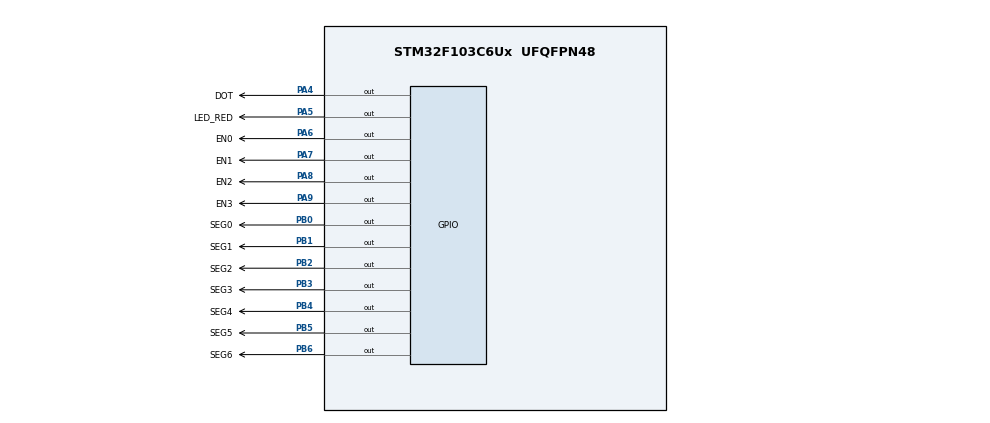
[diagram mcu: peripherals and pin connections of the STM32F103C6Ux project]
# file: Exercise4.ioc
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Mcu.Family=STM32F1
Mcu.Name=STM32F103C6Ux
Mcu.Package=UFQFPN48
NVIC.PriorityGroup=NVIC_PRIORITYGROUP_4
NVIC.TIM2_IRQn=true\:0\:0\:false\:false\:true\:true\:true
PA4.GPIO_Label=DOT
PA4.Signal=GPIO_Output
PA5.GPIO_Label=LED_RED
PA5.Signal=GPIO_Output
PA6.GPIO_Label=EN0
PA6.Signal=GPIO_Output
PA7.GPIO_Label=EN1
PA7.Signal=GPIO_Output
PA8.GPIO_Label=EN2
PA8.Signal=GPIO_Output
PA9.GPIO_Label=EN3
PA9.Signal=GPIO_Output
PB0.GPIO_Label=SEG0
PB0.Signal=GPIO_Output
PB1.GPIO_Label=SEG1
PB1.Signal=GPIO_Output
PB2.GPIO_Label=SEG2
PB2.Signal=GPIO_Output
PB3.GPIO_Label=SEG3
PB3.Signal=GPIO_Output
PB4.GPIO_Label=SEG4
PB4.Signal=GPIO_Output
PB5.GPIO_Label=SEG5
PB5.Signal=GPIO_Output
PB6.GPIO_Label=SEG6
PB6.Signal=GPIO_Output
ProjectManager.HeapSize=0x200
ProjectManager.StackSize=0x400
ProjectManager.TargetToolchain=STM32CubeIDE
RCC.APB1Freq_Value=8000000
RCC.APB2Freq_Value=8000000
TIM2.Period=9
TIM2.Prescaler=7999
VP_SYS_VS_ND.Mode=No_Debug
VP_TIM2_VS_ClockSourceINT.Mode=Internal
board=custom

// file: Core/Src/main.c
/* USER CODE BEGIN Header */
/**
  ******************************************************************************
  * @file           : main.c
  * @brief          : Main program body
  ******************************************************************************
  * @attention
  *
  * <h2><center>&copy; Copyright (c) 2025 STMicroelectronics.
  * All rights reserved.</center></h2>
  *
  * This software component is licensed by ST under BSD 3-Clause license,
  * the "License"; You may not use this file except in compliance with the
  * License. You may obtain a copy of the License at:
  *                        opensource.org/licenses/BSD-3-Clause
  *
  ******************************************************************************
  */
/* USER CODE END Header */
#include "main.h"

/* USER CODE BEGIN Includes */
#include "software_timer.h"
/* USER CODE END Includes */

TIM_HandleTypeDef htim2;

/* USER CODE BEGIN PV */
int segTable[10][7] = {
			{0,0,0,0,0,0,1},
			{1,0,0,1,1,1,1},
			{0,0,1,0,0,1,0},
			{0,0,0,0,1,1,0},
			{1,0,0,1,1,0,0},
			{0,1,0,0,1,0,0},
			{0,1,0,0,0,0,0},
			{0,0,0,1,1,1,1},
			{0,0,0,0,0,0,0},
			{0,0,0,0,1,0,0}
	};
const int MAX_LED = 4;
int index_led = 0;
int led_buffer[4] = {1 , 2 , 3 , 4};
/* USER CODE END PV */

void SystemClock_Config(void);
static void MX_GPIO_Init(void);
static void MX_TIM2_Init(void);
/* USER CODE BEGIN PFP */
void display7SEG(int num);
void update7SEG ( int index );
/* USER CODE END PFP */

int main(void)
{

  /* MCU Configuration--------------------------------------------------------*/

  /* Reset of all peripherals, Initializes the Flash interface and the Systick. */
  HAL_Init();

  /* Configure the system clock */
  SystemClock_Config();

  /* Initialize all configured peripherals */
  MX_GPIO_Init();
  MX_TIM2_Init();
  /* USER CODE BEGIN 2 */
  HAL_TIM_Base_Start_IT(&htim2);
  /* USER CODE END 2 */

  /* Infinite loop */
  /* USER CODE BEGIN WHILE */

  setTimer(0, 2);
  setTimer(1, 3);
  while (1)
  {
	if(isTimerExpired(0)){
		setTimer(0, 100);
		HAL_GPIO_TogglePin(LED_RED_GPIO_Port, LED_RED_Pin);
		HAL_GPIO_TogglePin(DOT_GPIO_Port, DOT_Pin);
	}

	if(isTimerExpired(1)){
		setTimer(1, 25);
		update7SEG(index_led);
		index_led++;
	    if(index_led >= 4) index_led = 0;
	}
    /* USER CODE END WHILE */

  }
}

void SystemClock_Config(void)
{
  RCC_OscInitTypeDef RCC_OscInitStruct = {0};
  RCC_ClkInitTypeDef RCC_ClkInitStruct = {0};

  /** Initializes the RCC Oscillators according to the specified parameters
  * in the RCC_OscInitTypeDef structure.
  */
  RCC_OscInitStruct.OscillatorType = RCC_OSCILLATORTYPE_HSI;
  RCC_OscInitStruct.HSIState = RCC_HSI_ON;
  RCC_OscInitStruct.HSICalibrationValue = RCC_HSICALIBRATION_DEFAULT;
  RCC_OscInitStruct.PLL.PLLState = RCC_PLL_NONE;
  if (HAL_RCC_OscConfig(&RCC_OscInitStruct) != HAL_OK)
  {
    Error_Handler();
  }
  /** Initializes the CPU, AHB and APB buses clocks
  */
  RCC_ClkInitStruct.ClockType = RCC_CLOCKTYPE_HCLK|RCC_CLOCKTYPE_SYSCLK
                              |RCC_CLOCKTYPE_PCLK1|RCC_CLOCKTYPE_PCLK2;
  RCC_ClkInitStruct.SYSCLKSource = RCC_SYSCLKSOURCE_HSI;
  RCC_ClkInitStruct.AHBCLKDivider = RCC_SYSCLK_DIV1;
  RCC_ClkInitStruct.APB1CLKDivider = RCC_HCLK_DIV1;
  RCC_ClkInitStruct.APB2CLKDivider = RCC_HCLK_DIV1;

  if (HAL_RCC_ClockConfig(&RCC_ClkInitStruct, FLASH_LATENCY_0) != HAL_OK)
  {
    Error_Handler();
  }
}

static void MX_TIM2_Init(void)
{

  TIM_ClockConfigTypeDef sClockSourceConfig = {0};
  TIM_MasterConfigTypeDef sMasterConfig = {0};

  htim2.Instance = TIM2;
  htim2.Init.Prescaler = 7999;
  htim2.Init.CounterMode = TIM_COUNTERMODE_UP;
  htim2.Init.Period = 9;
  htim2.Init.ClockDivision = TIM_CLOCKDIVISION_DIV1;
  htim2.Init.AutoReloadPreload = TIM_AUTORELOAD_PRELOAD_DISABLE;
  if (HAL_TIM_Base_Init(&htim2) != HAL_OK)
  {
    Error_Handler();
  }
  sClockSourceConfig.ClockSource = TIM_CLOCKSOURCE_INTERNAL;
  if (HAL_TIM_ConfigClockSource(&htim2, &sClockSourceConfig) != HAL_OK)
  {
    Error_Handler();
  }
  sMasterConfig.MasterOutputTrigger = TIM_TRGO_RESET;
  sMasterConfig.MasterSlaveMode = TIM_MASTERSLAVEMODE_DISABLE;
  if (HAL_TIMEx_MasterConfigSynchronization(&htim2, &sMasterConfig) != HAL_OK)
  {
    Error_Handler();
  }

}

static void MX_GPIO_Init(void)
{
  GPIO_InitTypeDef GPIO_InitStruct = {0};

  /* GPIO Ports Clock Enable */
  __HAL_RCC_GPIOA_CLK_ENABLE();
  __HAL_RCC_GPIOB_CLK_ENABLE();

  /*Configure GPIO pin Output Level */
  HAL_GPIO_WritePin(GPIOA, DOT_Pin|LED_RED_Pin|EN0_Pin|EN1_Pin
                          |EN2_Pin|EN3_Pin, GPIO_PIN_RESET);

  /*Configure GPIO pin Output Level */
  HAL_GPIO_WritePin(GPIOB, SEG0_Pin|SEG1_Pin|SEG2_Pin|SEG3_Pin
                          |SEG4_Pin|SEG5_Pin|SEG6_Pin, GPIO_PIN_RESET);

  /*Configure GPIO pins : DOT_Pin LED_RED_Pin EN0_Pin EN1_Pin
                           EN2_Pin EN3_Pin */
  GPIO_InitStruct.Pin = DOT_Pin|LED_RED_Pin|EN0_Pin|EN1_Pin
                          |EN2_Pin|EN3_Pin;
  GPIO_InitStruct.Mode = GPIO_MODE_OUTPUT_PP;
  GPIO_InitStruct.Pull = GPIO_NOPULL;
  GPIO_InitStruct.Speed = GPIO_SPEED_FREQ_LOW;
  HAL_GPIO_Init(GPIOA, &GPIO_InitStruct);

  /*Configure GPIO pins : SEG0_Pin SEG1_Pin SEG2_Pin SEG3_Pin
                           SEG4_Pin SEG5_Pin SEG6_Pin */
  GPIO_InitStruct.Pin = SEG0_Pin|SEG1_Pin|SEG2_Pin|SEG3_Pin
                          |SEG4_Pin|SEG5_Pin|SEG6_Pin;
  GPIO_InitStruct.Mode = GPIO_MODE_OUTPUT_PP;
  GPIO_InitStruct.Pull = GPIO_NOPULL;
  GPIO_InitStruct.Speed = GPIO_SPEED_FREQ_LOW;
  HAL_GPIO_Init(GPIOB, &GPIO_InitStruct);

}

/* USER CODE BEGIN 4 */
void HAL_TIM_PeriodElapsedCallback(TIM_HandleTypeDef *htim){
	timerRun();
}

void display7SEG(int num){
	if(num < 0 || num > 9) return;
	    HAL_GPIO_WritePin(SEG0_GPIO_Port, SEG0_Pin, segTable[num][0]);
	    HAL_GPIO_WritePin(SEG1_GPIO_Port, SEG1_Pin, segTable[num][1]);
	    HAL_GPIO_WritePin(SEG2_GPIO_Port, SEG2_Pin, segTable[num][2]);
	    HAL_GPIO_WritePin(SEG3_GPIO_Port, SEG3_Pin, segTable[num][3]);
	    HAL_GPIO_WritePin(SEG4_GPIO_Port, SEG4_Pin, segTable[num][4]);
	    HAL_GPIO_WritePin(SEG5_GPIO_Port, SEG5_Pin, segTable[num][5]);
	    HAL_GPIO_WritePin(SEG6_GPIO_Port, SEG6_Pin, segTable[num][6]);
}

void update7SEG (int index) {
	switch (index) {
	case 0:
		display7SEG(led_buffer[0]);
		HAL_GPIO_WritePin(EN0_GPIO_Port, EN0_Pin, GPIO_PIN_RESET);
		HAL_GPIO_WritePin(EN1_GPIO_Port, EN1_Pin, GPIO_PIN_SET);
		HAL_GPIO_WritePin(EN2_GPIO_Port, EN2_Pin, GPIO_PIN_SET);
		HAL_GPIO_WritePin(EN3_GPIO_Port, EN3_Pin, GPIO_PIN_SET);
		break;
	case 1:
		display7SEG(led_buffer[1]);
		HAL_GPIO_WritePin(EN0_GPIO_Port, EN0_Pin, GPIO_PIN_SET);
		HAL_GPIO_WritePin(EN1_GPIO_Port, EN1_Pin, GPIO_PIN_RESET);
		HAL_GPIO_WritePin(EN2_GPIO_Port, EN2_Pin, GPIO_PIN_SET);
		HAL_GPIO_WritePin(EN3_GPIO_Port, EN3_Pin, GPIO_PIN_SET);
		break;
	case 2:
		display7SEG(led_buffer[2]);
		HAL_GPIO_WritePin(EN0_GPIO_Port, EN0_Pin, GPIO_PIN_SET);
		HAL_GPIO_WritePin(EN1_GPIO_Port, EN1_Pin, GPIO_PIN_SET);
		HAL_GPIO_WritePin(EN2_GPIO_Port, EN2_Pin, GPIO_PIN_RESET);
		HAL_GPIO_WritePin(EN3_GPIO_Port, EN3_Pin, GPIO_PIN_SET);
		break;
	case 3:
		display7SEG(led_buffer[3]);
		HAL_GPIO_WritePin(EN0_GPIO_Port, EN0_Pin, GPIO_PIN_SET);
		HAL_GPIO_WritePin(EN1_GPIO_Port, EN1_Pin, GPIO_PIN_SET);
		HAL_GPIO_WritePin(EN2_GPIO_Port, EN2_Pin, GPIO_PIN_SET);
		HAL_GPIO_WritePin(EN3_GPIO_Port, EN3_Pin, GPIO_PIN_RESET);
		break;
	default:
		break;
	}
}
/* USER CODE END 4 */

void Error_Handler(void)
{
  __disable_irq();
  while (1)
  {
  }
}

/************************ (C) COPYRIGHT STMicroelectronics *****END OF FILE****/
